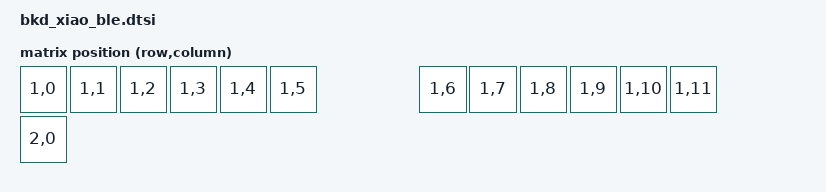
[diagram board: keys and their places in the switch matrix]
#include <dt-bindings/zmk/matrix_transform.h>

/ {
	chosen {
		zmk,kscan = &kscan0;
		zmk,matrix-transform = &tbk_mini_transform;
	};

	// | SW02 | SW06 | SW10 | SW15 | SW20 | SW24 |                  | SW24 | SW20 | SW15 | SW10 | SW06 | SW02 |
	// | SW03 | SW07 | SW11 | SW16 | SW21 | SW25 |                  | SW25 | SW21 | SW16 | SW11 | SW07 | SW03 |
	// | SW04 | SW08 | SW12 | SW17 | SW22 | SW26 |                  | SW26 | SW22 | SW17 | SW12 | SW08 | SW04 |
	//                      | SW14 | SW19 | SW05 |                  | SW05 | SW19 | SW14 |
	tbk_mini_transform: keymap_transform_0 {
		compatible = "zmk,matrix-transform";
		columns = <12>;
		rows = <2>;
		map = <
RC(1,0) RC(1,1) RC(1,2) RC(1,3) RC(1,4) RC(1,5)                 RC(1,6) RC(1,7) RC(1,8) RC(1,9) RC(1,10) RC(1,11)
RC(2,0)
		>;
	};

};
